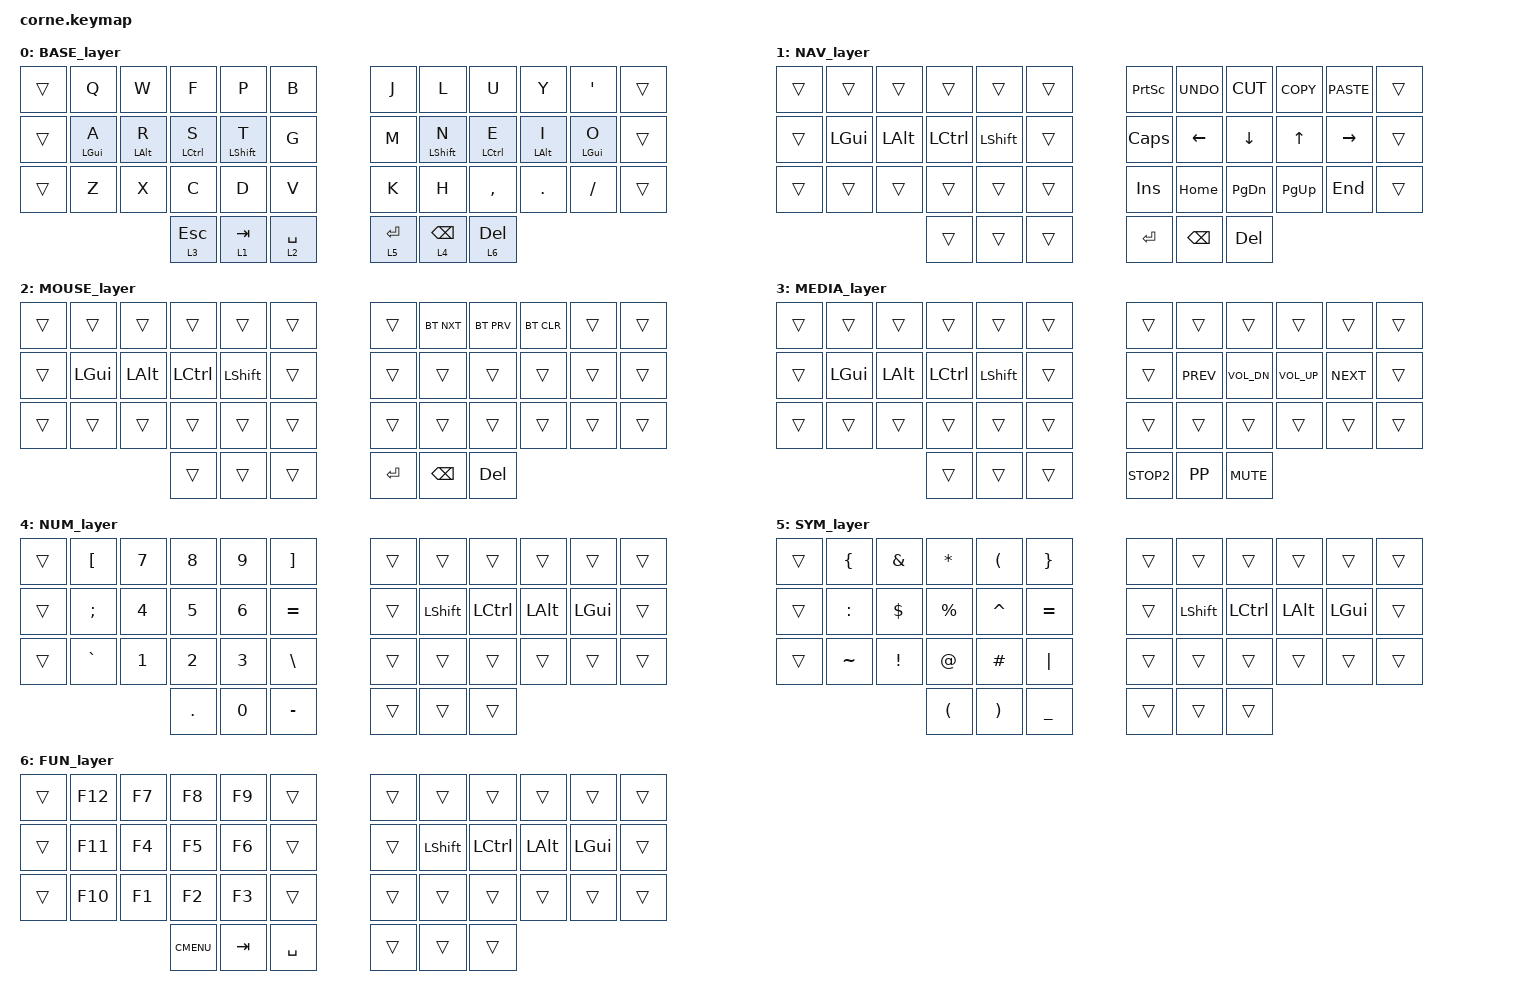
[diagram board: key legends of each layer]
/*
 * Copyright (c) 2020 The ZMK Contributors
 *
 * SPDX-License-Identifier: MIT
 */

#include <behaviors.dtsi>
#include <dt-bindings/zmk/keys.h>
#include <dt-bindings/zmk/bt.h>

#define BASE    0
#define NAV     1
#define MOUSE   2
#define MEDIA   3
#define NUM     4
#define SYM     5
#define FUN     6

&lt {
    tapping-term-ms = <250>;
};
    
/ {
    behaviors {
        hm: homerow_mods {
            compatible = "zmk,behavior-hold-tap";
            label = "HOMEROW_MODS";
            #binding-cells = <2>;
            tapping-term-ms = <250>;
            quick-tap-ms = <0>;
            flavor = "tap-preferred";
            bindings = <&kp>, <&kp>;
        };
        
        
  };
        
        keymap {
                compatible = "zmk,keymap";

                BASE_layer {
// -----------------------------------------------------------------------------------------
// | TRANS|  Q  |    W    |    F    |     P    |    B    |   |    J    |     L     |    U    |    Y    |  '  | TRANS|
// | TRANS|  A  |  R/GUI  |  S/ALT  |  T/CTRL  |  G/SFT  |   |  M/SFT  |  N/CTRL   |  E/ALT  |  I/GUI  |  O  | TRANS|
// | TRANS|  Z  |    X    |    C    |     D    |    V    |   |    K    |     H     |    ,    |    .    |  /  | TRANS|
//                        |  ESC/3  |   TAB/1  |  SPC/2  |   |  ENT/5  |   BKSP/4  |  DEL/6  |
                        bindings = <
   &trans &kp Q       &kp W      &kp F       &kp P        &kp B   &kp J  &kp L        &kp U       &kp Y      &kp APOS   &trans
   &trans &hm LGUI A  &hm LALT R &hm LCTRL S &hm LSHIFT T &kp G   &kp M  &hm LSHIFT N &hm LCTRL E &hm LALT I &hm LGUI O &trans
   &trans &kp Z       &kp X      &kp C       &kp D        &kp V   &kp K  &kp H        &kp COMMA   &kp DOT    &kp FSLH   &trans
                            &lt 3 ESC  &lt 1 TAB  &lt 2 SPACE     &lt 5 RET  &lt 4 BKSP   &lt 6 DEL
                        >;
                };
                
                NAV_layer {
// -----------------------------------------------------------------------------------------
// | TRANS | TRANS | TRANS | TRANS | TRANS | TRANS |   | TRANS | UNDO | CUT  | COPY | PASTE | TRANS |
// | TRANS | LGUI  |  LALT | LCTRL | LSFT  | TRANS |   | CPSLK |  LFT | DWN  |   UP |  RGT  | TRANS |
// | TRANS | TRANS | TRANS | TRANS | TRANS | TRANS |   |  INST | HOME | PGDN | PGUP |  END  | TRANS |
//                         | TRANS | TRANS | TRANS |   |  ENT  | BKSP |  DEL |
                        bindings = <
   &trans  &trans    &trans    &trans     &trans      &trans         &kp PSCRN &kp K_UNDO &kp K_CUT &kp K_COPY &kp K_PASTE &trans
   &trans  &kp LGUI  &kp LALT  &kp LCTRL  &kp LSHIFT  &trans         &kp CAPS  &kp LEFT   &kp DOWN  &kp UP     &kp RIGHT   &trans
   &trans  &trans    &trans    &trans     &trans      &trans         &kp INS   &kp HOME   &kp PG_DN &kp PG_UP  &kp END     &trans
                               &trans     &trans      &trans         &kp RET   &kp BKSP   &kp DEL
                        >;
                };

                MOUSE_layer {
// -----------------------------------------------------------------------------------------
// | TRANS | TRANS | TRANS | TRANS | TRANS | TRANS |   | TRANS |  BT NXT | BT PREV | BT CLR  |  TRANS  | TRANS |
// | TRANS | LGUI  |  LALT | LCTRL | LSFT  | TRANS |   | TRANS |  MSLFT  |  MSDWN  |   MSUP  |  MSRGT  | TRANS |
// | TRANS | TRANS | TRANS | TRANS | TRANS | TRANS |   | TRANS |  WHLLFT |  WHLDWN |  WHLUP  |  WHLRGT | TRANS |
//                         | TRANS | TRANS | TRANS |   |  ENT  |   BKSP  |   DEL   |
                        bindings = <
   &trans  &trans    &trans    &trans     &trans      &trans         &trans   &bt BT_NXT &bt BT_PRV  &bt BT_CLR &trans    &trans
   &trans  &kp LGUI  &kp LALT  &kp LCTRL  &kp LSHIFT  &trans         &trans   &trans     &trans      &trans     &trans    &trans
   &trans  &trans    &trans    &trans     &trans      &trans         &trans   &trans     &trans      &trans     &trans    &trans
                               &trans     &trans      &trans         &kp RET  &kp BKSP   &kp DEL
                        >;
                };
                
                MEDIA_layer {
// -----------------------------------------------------------------------------------------
// | TRANS | TRANS | TRANS | TRANS | TRANS | TRANS |   |  TRANS | TRANS |  TRANS | TRANS | TRANS | TRANS |
// | TRANS | LGUI  |  LALT | LCTRL | LSFT  | TRANS |   |  TRANS |  PREV | VOLDWN | VOLUP | NEXT  | TRANS |
// | TRANS | TRANS | TRANS | TRANS | TRANS | TRANS |   |  TRANS | TRANS |  TRANS | TRANS | TRANS | TRANS |
//                         | TRANS | TRANS | TRANS |   |  STOP  | PLAY/PAUSE |  MUTE |
                        bindings = <
   &trans  &trans    &trans    &trans     &trans      &trans         &trans    &trans      &trans        &trans        &trans      &trans
   &trans  &kp LGUI  &kp LALT  &kp LCTRL  &kp LSHIFT  &trans         &trans    &kp K_PREV  &kp K_VOL_DN  &kp K_VOL_UP  &kp K_NEXT  &trans
   &trans  &trans    &trans    &trans     &trans      &trans         &trans    &trans      &trans        &trans        &trans      &trans    
                               &trans     &trans      &trans         &kp K_STOP2   &kp K_PP   &kp K_MUTE
                        >;
                };
                
                NUM_layer {
// -----------------------------------------------------------------------------------------
// | TRANS |   [   |   7   |   8   |   9   |   ]   |   | TRANS | TRANS | TRANS | TRANS | TRANS | TRANS |
// | TRANS |   ;   |   4   |   5   |   6   |   =   |   | TRANS | LSFT  | LCTRL | LALT  | LGUI  | TRANS |
// | TRANS |   `   |   1   |   2   |   3   |   \   |   | TRANS | TRANS | TRANS | TRANS | TRANS | TRANS |
//                         |   .   |   0   |   -   |   | TRANS | TRANS | TRANS |
                        bindings = <
   &trans  &kp LBKT  &kp N7   &kp N8  &kp N9  &kp RBKT        &trans     &trans     &trans    &trans    &trans     &trans
   &trans  &kp SEMI  &kp N4   &kp N5  &kp N6  &kp EQUAL       &trans     &kp LSHIFT &kp LCTRL &kp LALT  &kp LGUI   &trans
   &trans  &kp GRAVE &kp N1   &kp N2  &kp N3  &kp BSLH        &trans     &trans     &trans    &trans    &trans     &trans
                              &kp DOT &kp N0  &kp MINUS       &trans     &trans     &trans
                        >;
                };
                
                SYM_layer {
// -----------------------------------------------------------------------------------------
// | TRANS |   {   |   &   |   *   |   (   |   }   |   | TRANS | TRANS | TRANS | TRANS | TRANS | TRANS |
// | TRANS |   :   |   $   |   %   |   ^   |   +   |   | TRANS | LSFT  | LCTRL | LALT  | LGUI  | TRANS |
// | TRANS |   ~   |   !   |   @   |   #   |   |   |   | TRANS | TRANS | TRANS | TRANS | TRANS | TRANS |
//                         |   (   |   )   |   _   |   | TRANS | TRANS | TRANS |
                        bindings = <
   &trans  &kp LBRC  &kp AMPS &kp STAR  &kp LPAR   &kp RBRC        &trans     &trans     &trans    &trans    &trans     &trans
   &trans  &kp COLON &kp DLLR &kp PRCNT &kp CARET  &kp EQUAL       &trans     &kp LSHIFT &kp LCTRL &kp LALT  &kp LGUI   &trans
   &trans  &kp TILDE &kp EXCL &kp AT    &kp HASH   &kp PIPE        &trans     &trans     &trans    &trans    &trans     &trans
                              &kp LPAR  &kp RPAR   &kp UNDER       &trans     &trans     &trans
                        >;
                };
                
                FUN_layer {
// -----------------------------------------------------------------------------------------
// | TRANS |  F12  |  F7  |  F8  |  F9  | TRANS |   | TRANS | TRANS | TRANS | TRANS | TRANS | TRANS |
// | TRANS |  F11  |  F4  |  F5  |  F6  | TRANS |   | TRANS | LSFT  | LCTRL | LALT  | LGUI  | TRANS |
// | TRANS |  F10  |  F1  |  F2  |  F3  | TRANS |   | TRANS | TRANS | TRANS | TRANS | TRANS | TRANS |
//                        | MENU | TAB  | SPACE |   | TRANS | TRANS | TRANS |
                        bindings = <
   &trans  &kp F12 &kp F7 &kp F8 &kp F9  &trans       &trans     &trans     &trans    &trans    &trans     &trans
   &trans  &kp F11 &kp F4 &kp F5 &kp F6  &trans       &trans     &kp LSHIFT &kp LCTRL &kp LALT  &kp LGUI   &trans
   &trans  &kp F10 &kp F1 &kp F2 &kp F3  &trans       &trans     &trans     &trans    &trans    &trans     &trans
                     &kp K_CMENU &kp TAB &kp SPACE    &trans     &trans     &trans
                        >;
                };
        };
};
